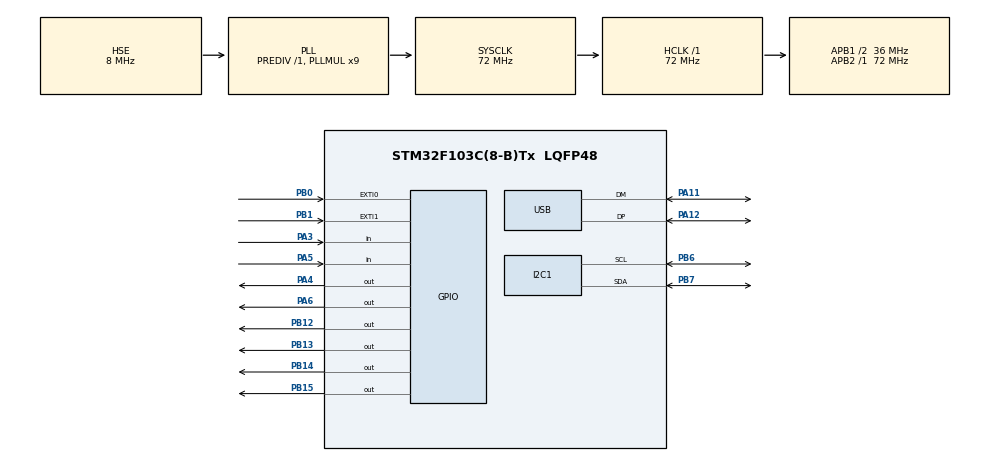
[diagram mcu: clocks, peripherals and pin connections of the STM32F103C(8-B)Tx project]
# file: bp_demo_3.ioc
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I2C1.I2C_Mode=I2C_Fast
Mcu.Family=STM32F1
Mcu.Name=STM32F103C(8-B)Tx
Mcu.Package=LQFP48
NVIC.EXTI0_IRQn=true\:0\:0\:false\:false\:true\:true\:true
NVIC.EXTI1_IRQn=true\:0\:0\:false\:false\:true\:true\:true
NVIC.PriorityGroup=NVIC_PRIORITYGROUP_4
NVIC.USB_LP_CAN1_RX0_IRQn=true\:0\:0\:false\:false\:true\:false\:true
PA11.Mode=Device
PA11.Signal=USB_DM
PA12.Mode=Device
PA12.Signal=USB_DP
PA3.Signal=GPIO_Input
PA4.Signal=GPIO_Output
PA5.Signal=GPIO_Input
PA6.Signal=GPIO_Output
PB0.GPIO_PuPd=GPIO_PULLUP
PB0.Signal=GPXTI0
PB1.GPIO_PuPd=GPIO_PULLUP
PB1.Signal=GPXTI1
PB12.Signal=GPIO_Output
PB13.Signal=GPIO_Output
PB14.Signal=GPIO_Output
PB15.Signal=GPIO_Output
PB6.Mode=I2C
PB6.Signal=I2C1_SCL
PB7.Mode=I2C
PB7.Signal=I2C1_SDA
PD0-OSC_IN.Mode=HSE-External-Oscillator
PD0-OSC_IN.Signal=RCC_OSC_IN
PD1-OSC_OUT.Mode=HSE-External-Oscillator
PD1-OSC_OUT.Signal=RCC_OSC_OUT
ProjectManager.HeapSize=0x200
ProjectManager.StackSize=0x400
ProjectManager.TargetToolchain=STM32CubeIDE
RCC.AHBFreq_Value=72000000
RCC.APB1CLKDivider=RCC_HCLK_DIV2
RCC.APB1Freq_Value=36000000
RCC.APB1TimFreq_Value=72000000
RCC.APB2Freq_Value=72000000
RCC.APB2TimFreq_Value=72000000
RCC.HCLKFreq_Value=72000000
RCC.PLLMUL=RCC_PLL_MUL9
RCC.SYSCLKFreq_VALUE=72000000
RCC.SYSCLKSource=RCC_SYSCLKSOURCE_PLLCLK
RCC.USBFreq_Value=48000000
RCC.USBPrescaler=RCC_USBCLKSOURCE_PLL_DIV1_5
TIM1.Period=10000
TIM1.Prescaler=1800
USB_DEVICE.CLASS_NAME_FS=CDC
USB_DEVICE.MANUFACTURER_STRING=MilanKopper
USB_DEVICE.PRODUCT_STRING_CDC_FS=EFmeter
USB_DEVICE.VirtualMode=Cdc
USB_DEVICE.VirtualModeFS=Cdc_FS
VP_SYS_VS_ND.Mode=No_Debug
VP_TIM1_VS_ClockSourceINT.Mode=Internal
VP_USB_DEVICE_VS_USB_DEVICE_CDC_FS.Mode=CDC_FS
board=custom

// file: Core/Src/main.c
/* USER CODE BEGIN Header */
/**
  ******************************************************************************
  * @file           : main.c
  * @brief          : Main program body
  ******************************************************************************
  * @attention
  *
  * Copyright (c) 2025 STMicroelectronics.
  * All rights reserved.
  *
  * This software is licensed under terms that can be found in the LICENSE file
  * in the root directory of this software component.
  * If no LICENSE file comes with this software, it is provided AS-IS.
  *
  ******************************************************************************
  */
/* USER CODE END Header */
#include "main.h"
#include "i2c.h"
#include "tim.h"
#include "usb_device.h"
#include "gpio.h"

/* USER CODE BEGIN Includes */
#include "scpi/scpi.h"
#include "Display.h"
#include "HW_hand.h"
#include "DMM.h"
#include "scpi-def.h"
#include "eeprom.h"
#include "eeprom_loader.h"
/* USER CODE END Includes */

void SystemClock_Config(void);

/* USER CODE BEGIN 0 */

extern uint8_t UserRxBufferFS[1000];
extern uint8_t is_new_data_ready;
extern uint16_t new_data_length;
const uint16_t VirtAddVarTab[NB_OF_VAR] =    {0x0000, 0x0001, 0x0002, 0x0003, 0x0004, 0x0005, 0x0006, 0x0007,
0x0008, 0x0009, 0x000A, 0x000B, 0x000C, 0x000D, 0x000E, 0x000F,
0x0010, 0x0011, 0x0012, 0x0013, 0x0014, 0x0015, 0x0016, 0x0017,
0x0018, 0x0019, 0x001A, 0x001B, 0x001C, 0x001D, 0x001E, 0x001F,
0x0020, 0x0021, 0x0022, 0x0023, 0x0024, 0x0025, 0x0026, 0x0027,
0x0028, 0x0029, 0x002A, 0x002B, 0x002C, 0x002D, 0x002E, 0x002F,
0x0030, 0x0031, 0x0032, 0x0033, 0x0034, 0x0035, 0x0036, 0x0037,
0x0038, 0x0039, 0x003A, 0x003B, 0x003C, 0x003D, 0x003E, 0x003F,
0x0040, 0x0041, 0x0042, 0x0043, 0x0044, 0x0045, 0x0046, 0x0047,
0x0048, 0x0049, 0x004A, 0x004B, 0x004C, 0x004D, 0x004E, 0x004F,
0x0050, 0x0051, 0x0052, 0x0053, 0x0054, 0x0055, 0x0056, 0x0057,
0x0058, 0x0059, 0x005A, 0x005B, 0x005C, 0x005D, 0x005E, 0x005F,
0x0060, 0x0061, 0x0062, 0x0063, 0x0064, 0x0065, 0x0066, 0x0067,
0x0068, 0x0069, 0x006A, 0x006B, 0x006C, 0x006D, 0x006E, 0x006F,
0x0070, 0x0071, 0x0072, 0x0073, 0x0074, 0x0075, 0x0076, 0x0077,
0x0078, 0x0079, 0x007A, 0x007B, 0x007C, 0x007D, 0x007E, 0x007F,
0x0080, 0x0081, 0x0082, 0x0083, 0x0084, 0x0085, 0x0086, 0x0087,
0x0088, 0x0089, 0x008A, 0x008B, 0x008C, 0x008D, 0x008E, 0x008F
};
uint8_t last_ch = 0;
/* USER CODE END 0 */

int main(void)
{

  /* MCU Configuration--------------------------------------------------------*/

  /* Reset of all peripherals, Initializes the Flash interface and the Systick. */
  HAL_Init();

  /* Configure the system clock */
  SystemClock_Config();

  /* Initialize all configured peripherals */
  MX_GPIO_Init();
  MX_USB_DEVICE_Init();
  MX_I2C1_Init();
  MX_TIM1_Init();
  /* USER CODE BEGIN 2 */
  HAL_FLASH_Unlock();
  EE_Init();
  HAL_TIM_Base_Start(&htim1);
  HW_init();
  //DMM_Enable();
  DP_init();
  SCPI_Init(&scpi_context,
              scpi_commands,
              &scpi_interface,
              scpi_units_def,
              SCPI_IDN1, SCPI_IDN2, SCPI_IDN3, SCPI_IDN4,
              scpi_input_buffer, SCPI_INPUT_BUFFER_LENGTH,
              scpi_error_queue_data, SCPI_ERROR_QUEUE_SIZE);
  DrawSCPI();
  load_EEPROM();
  /* USER CODE END 2 */

  /* Infinite loop */
  /* USER CODE BEGIN WHILE */
  while (1)
  {
	    /*V předchozí konverzi došlo byl menší proud než 0,75A ale rozsah je 5A*/
	    if(Range_down_flag(0)==1)
	    {
	      Range_down(0);
	    }
	    if(Range_down_flag(1)==1)
	    {
	      Range_down(1);
	    }
	    /*Přišla nová data*/
		  if(is_new_data_ready){
			  SCPI_Input(&scpi_context,(char*)UserRxBufferFS,  new_data_length);
			  is_new_data_ready = 0;
		  }
      if(HW_status()){
        DMM_Disable();
      }
      if(DMM_modeContinous()!=0){
        last_ch = DMM_Asyncsample(last_ch);
      }
    /* USER CODE END WHILE */

  }
}

void SystemClock_Config(void)
{
  RCC_OscInitTypeDef RCC_OscInitStruct = {0};
  RCC_ClkInitTypeDef RCC_ClkInitStruct = {0};
  RCC_PeriphCLKInitTypeDef PeriphClkInit = {0};

  /** Initializes the RCC Oscillators according to the specified parameters
  * in the RCC_OscInitTypeDef structure.
  */
  RCC_OscInitStruct.OscillatorType = RCC_OSCILLATORTYPE_HSE;
  RCC_OscInitStruct.HSEState = RCC_HSE_ON;
  RCC_OscInitStruct.HSEPredivValue = RCC_HSE_PREDIV_DIV1;
  RCC_OscInitStruct.HSIState = RCC_HSI_ON;
  RCC_OscInitStruct.PLL.PLLState = RCC_PLL_ON;
  RCC_OscInitStruct.PLL.PLLSource = RCC_PLLSOURCE_HSE;
  RCC_OscInitStruct.PLL.PLLMUL = RCC_PLL_MUL9;
  if (HAL_RCC_OscConfig(&RCC_OscInitStruct) != HAL_OK)
  {
    Error_Handler();
  }
  /** Initializes the CPU, AHB and APB buses clocks
  */
  RCC_ClkInitStruct.ClockType = RCC_CLOCKTYPE_HCLK|RCC_CLOCKTYPE_SYSCLK
                              |RCC_CLOCKTYPE_PCLK1|RCC_CLOCKTYPE_PCLK2;
  RCC_ClkInitStruct.SYSCLKSource = RCC_SYSCLKSOURCE_PLLCLK;
  RCC_ClkInitStruct.AHBCLKDivider = RCC_SYSCLK_DIV1;
  RCC_ClkInitStruct.APB1CLKDivider = RCC_HCLK_DIV2;
  RCC_ClkInitStruct.APB2CLKDivider = RCC_HCLK_DIV1;

  if (HAL_RCC_ClockConfig(&RCC_ClkInitStruct, FLASH_LATENCY_2) != HAL_OK)
  {
    Error_Handler();
  }
  PeriphClkInit.PeriphClockSelection = RCC_PERIPHCLK_USB;
  PeriphClkInit.UsbClockSelection = RCC_USBCLKSOURCE_PLL_DIV1_5;
  if (HAL_RCCEx_PeriphCLKConfig(&PeriphClkInit) != HAL_OK)
  {
    Error_Handler();
  }
}

void Error_Handler(void)
{
  __disable_irq();
  while (1)
  {
  }
}
